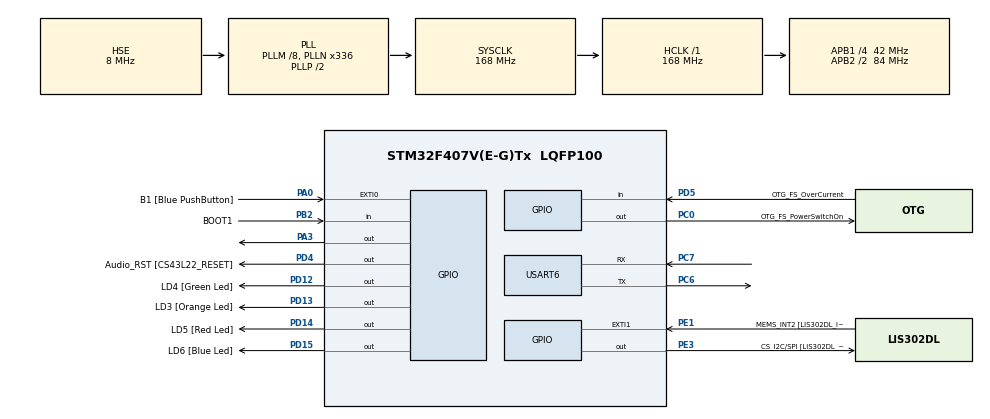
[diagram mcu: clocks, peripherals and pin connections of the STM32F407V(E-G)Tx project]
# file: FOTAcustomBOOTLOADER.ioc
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Dma.Request0=USART6_RX
Dma.Request1=USART6_TX
Dma.USART6_RX.0.Direction=DMA_PERIPH_TO_MEMORY
Dma.USART6_RX.0.FIFOMode=DMA_FIFOMODE_DISABLE
Dma.USART6_RX.0.Instance=DMA2_Stream1
Dma.USART6_RX.0.MemDataAlignment=DMA_MDATAALIGN_BYTE
Dma.USART6_RX.0.MemInc=DMA_MINC_ENABLE
Dma.USART6_RX.0.Mode=DMA_NORMAL
Dma.USART6_RX.0.PeriphDataAlignment=DMA_PDATAALIGN_BYTE
Dma.USART6_RX.0.PeriphInc=DMA_PINC_DISABLE
Dma.USART6_RX.0.Priority=DMA_PRIORITY_LOW
Dma.USART6_TX.1.Direction=DMA_MEMORY_TO_PERIPH
Dma.USART6_TX.1.FIFOMode=DMA_FIFOMODE_DISABLE
Dma.USART6_TX.1.Instance=DMA2_Stream6
Dma.USART6_TX.1.MemDataAlignment=DMA_MDATAALIGN_BYTE
Dma.USART6_TX.1.MemInc=DMA_MINC_ENABLE
Dma.USART6_TX.1.Mode=DMA_NORMAL
Dma.USART6_TX.1.PeriphDataAlignment=DMA_PDATAALIGN_BYTE
Dma.USART6_TX.1.PeriphInc=DMA_PINC_DISABLE
Dma.USART6_TX.1.Priority=DMA_PRIORITY_LOW
Mcu.Family=STM32F4
Mcu.Name=STM32F407V(E-G)Tx
Mcu.Package=LQFP100
NVIC.DMA2_Stream1_IRQn=true\:0\:0\:false\:false\:true\:false\:true\:true
NVIC.DMA2_Stream6_IRQn=true\:0\:0\:false\:false\:true\:false\:true\:true
NVIC.PriorityGroup=NVIC_PRIORITYGROUP_0
PA0-WKUP.GPIO_Label=B1 [Blue PushButton]
PA0-WKUP.GPIO_ModeDefaultEXTI=GPIO_MODE_EVT_RISING
PA0-WKUP.GPIO_PuPd=GPIO_NOPULL
PA0-WKUP.Signal=GPXTI0
PA10.GPIO_Label=OTG_FS_ID
PA10.GPIO_Mode=GPIO_MODE_AF_PP
PA10.GPIO_PuPd=GPIO_NOPULL
PA10.GPIO_Speed=GPIO_SPEED_FREQ_LOW
PA10.Signal=USB_OTG_FS_ID
PA11.GPIO_Label=OTG_FS_DM
PA11.GPIO_Mode=GPIO_MODE_AF_PP
PA11.GPIO_PuPd=GPIO_NOPULL
PA11.GPIO_Speed=GPIO_SPEED_FREQ_LOW
PA11.Signal=USB_OTG_FS_DM
PA12.GPIO_Label=OTG_FS_DP
PA12.GPIO_Mode=GPIO_MODE_AF_PP
PA12.GPIO_PuPd=GPIO_NOPULL
PA12.GPIO_Speed=GPIO_SPEED_FREQ_LOW
PA12.Signal=USB_OTG_FS_DP
PA13.GPIO_Label=SWDIO
PA13.Signal=SYS_JTMS-SWDIO
PA14.GPIO_Label=SWCLK
PA14.Signal=SYS_JTCK-SWCLK
PA3.GPIO_ModeDefaultOutputPP=GPIO_MODE_OUTPUT_OD
PA3.GPIO_PuPd=GPIO_NOPULL
PA3.Signal=GPIO_Output
PA4.GPIO_Label=I2S3_WS [CS43L22_LRCK]
PA4.GPIO_Mode=GPIO_MODE_AF_PP
PA4.GPIO_PuPd=GPIO_NOPULL
PA4.GPIO_Speed=GPIO_SPEED_FREQ_LOW
PA4.Signal=I2S3_WS
PA5.GPIO_Label=SPI1_SCK [LIS302DL_SCL/SPC]
PA5.GPIO_Mode=GPIO_MODE_AF_PP
PA5.GPIO_PuPd=GPIO_NOPULL
PA5.GPIO_Speed=GPIO_SPEED_FREQ_LOW
PA5.Signal=SPI1_SCK
PA6.GPIO_Label=SPI1_MISO [LIS302DL_SDO]
PA6.GPIO_Mode=GPIO_MODE_AF_PP
PA6.GPIO_PuPd=GPIO_NOPULL
PA6.GPIO_Speed=GPIO_SPEED_FREQ_LOW
PA6.Signal=SPI1_MISO
PA7.GPIO_Label=SPI1_MOSI [LIS302DL_SDA/SDI/SDO]
PA7.GPIO_Mode=GPIO_MODE_AF_PP
PA7.GPIO_PuPd=GPIO_NOPULL
PA7.GPIO_Speed=GPIO_SPEED_FREQ_LOW
PA7.Signal=SPI1_MOSI
PA9.GPIO_Label=VBUS_FS
PA9.GPIO_Mode=GPIO_MODE_INPUT
PA9.GPIO_PuPd=GPIO_NOPULL
PA9.Signal=USB_OTG_FS_VBUS
PB10.GPIO_Label=CLK_IN [MP45DT02_CLK]
PB10.GPIO_Mode=GPIO_MODE_AF_PP
PB10.GPIO_PuPd=GPIO_NOPULL
PB10.GPIO_Speed=GPIO_SPEED_FREQ_LOW
PB10.Signal=I2S2_CK
PB2.GPIO_Label=BOOT1
PB2.GPIO_Mode=GPIO_MODE_INPUT
PB2.GPIO_PuPd=GPIO_NOPULL
PB2.Signal=GPIO_Input
PB3.GPIO_Label=SWO
PB3.Signal=SYS_JTDO-SWO
PB6.GPIO_Label=Audio_SCL [CS43L22_SCL]
PB6.GPIO_Mode=GPIO_MODE_AF_OD
PB6.GPIO_Pu=GPIO_PULLUP
PB6.GPIO_PuPd=GPIO_NOPULL
PB6.GPIO_Speed=GPIO_SPEED_FREQ_LOW
PB6.Signal=I2C1_SCL
PB9.GPIO_Label=Audio_SDA [CS43L22_SDA]
PB9.GPIO_Mode=GPIO_MODE_AF_OD
PB9.GPIO_Pu=GPIO_PULLUP
PB9.GPIO_PuPd=GPIO_NOPULL
PB9.GPIO_Speed=GPIO_SPEED_FREQ_LOW
PB9.Signal=I2C1_SDA
PC0.GPIO_Label=OTG_FS_PowerSwitchOn
PC0.GPIO_PuPd=GPIO_NOPULL
PC0.GPIO_Speed=GPIO_SPEED_FREQ_LOW
PC0.PinState=GPIO_PIN_SET
PC0.Signal=GPIO_Output
PC10.GPIO_Label=I2S3_SCK [CS43L22_SCLK]
PC10.GPIO_Mode=GPIO_MODE_AF_PP
PC10.GPIO_PuPd=GPIO_NOPULL
PC10.GPIO_Speed=GPIO_SPEED_FREQ_LOW
PC10.Signal=I2S3_CK
PC12.GPIO_Label=I2S3_SD [CS43L22_SDIN]
PC12.GPIO_Mode=GPIO_MODE_AF_PP
PC12.GPIO_PuPd=GPIO_NOPULL
PC12.GPIO_Speed=GPIO_SPEED_FREQ_LOW
PC12.Signal=I2S3_SD
PC14-OSC32_IN.GPIO_Label=PC14-OSC32_IN
PC14-OSC32_IN.Mode=LSE-External-Oscillator
PC14-OSC32_IN.Signal=RCC_OSC32_IN
PC15-OSC32_OUT.GPIO_Label=PC15-OSC32_OUT
PC15-OSC32_OUT.Mode=LSE-External-Oscillator
PC15-OSC32_OUT.Signal=RCC_OSC32_OUT
PC3.GPIO_Label=PDM_OUT [MP45DT02_DOUT]
PC3.GPIO_Mode=GPIO_MODE_AF_PP
PC3.GPIO_PuPd=GPIO_NOPULL
PC3.GPIO_Speed=GPIO_SPEED_FREQ_LOW
PC3.Signal=I2S2_SD
PC6.Mode=Asynchronous
PC6.Signal=USART6_TX
PC7.Mode=Asynchronous
PC7.Signal=USART6_RX
PD12.GPIO_Label=LD4 [Green Led]
PD12.GPIO_PuPd=GPIO_NOPULL
PD12.GPIO_Speed=GPIO_SPEED_FREQ_LOW
PD12.Signal=GPIO_Output
PD13.GPIO_Label=LD3 [Orange Led]
PD13.GPIO_PuPd=GPIO_NOPULL
PD13.GPIO_Speed=GPIO_SPEED_FREQ_LOW
PD13.Signal=GPIO_Output
PD14.GPIO_Label=LD5 [Red Led]
PD14.GPIO_PuPd=GPIO_NOPULL
PD14.GPIO_Speed=GPIO_SPEED_FREQ_LOW
PD14.Signal=GPIO_Output
PD15.GPIO_Label=LD6 [Blue Led]
PD15.GPIO_PuPd=GPIO_NOPULL
PD15.GPIO_Speed=GPIO_SPEED_FREQ_LOW
PD15.Signal=GPIO_Output
PD4.GPIO_Label=Audio_RST [CS43L22_RESET]
PD4.GPIO_PuPd=GPIO_NOPULL
PD4.GPIO_Speed=GPIO_SPEED_FREQ_LOW
PD4.Signal=GPIO_Output
PD5.GPIO_Label=OTG_FS_OverCurrent
PD5.GPIO_Mode=GPIO_MODE_INPUT
PD5.GPIO_PuPd=GPIO_NOPULL
PD5.Signal=GPIO_Input
PE1.GPIO_Label=MEMS_INT2 [LIS302DL_INT2]
PE1.GPIO_ModeDefaultEXTI=GPIO_MODE_EVT_RISING
PE1.GPIO_PuPd=GPIO_NOPULL
PE1.Signal=GPXTI1
PE3.GPIO_Label=CS_I2C/SPI [LIS302DL_CS_I2C/SPI]
PE3.GPIO_PuPd=GPIO_NOPULL
PE3.GPIO_Speed=GPIO_SPEED_FREQ_LOW
PE3.Signal=GPIO_Output
PH0-OSC_IN.GPIO_Label=PH0-OSC_IN
PH0-OSC_IN.Mode=HSE-External-Oscillator
PH0-OSC_IN.Signal=RCC_OSC_IN
PH1-OSC_OUT.GPIO_Label=PH1-OSC_OUT
PH1-OSC_OUT.Mode=HSE-External-Oscillator
PH1-OSC_OUT.Signal=RCC_OSC_OUT
ProjectManager.HeapSize=0x200
ProjectManager.StackSize=0x400
ProjectManager.TargetToolchain=Makefile
RCC.48MHZClocksFreq_Value=48000000
RCC.AHBFreq_Value=168000000
RCC.APB1CLKDivider=RCC_HCLK_DIV4
RCC.APB1Freq_Value=42000000
RCC.APB1TimFreq_Value=84000000
RCC.APB2CLKDivider=RCC_HCLK_DIV2
RCC.APB2Freq_Value=84000000
RCC.APB2TimFreq_Value=168000000
RCC.CortexFreq_Value=168000000
RCC.HCLKFreq_Value=168000000
RCC.HSE_VALUE=8000000
RCC.HSI_VALUE=16000000
RCC.PLLM=8
RCC.PLLN=336
RCC.PLLQ=7
RCC.PLLSourceVirtual=RCC_PLLSOURCE_HSE
RCC.SYSCLKFreq_VALUE=168000000
RCC.SYSCLKSource=RCC_SYSCLKSOURCE_PLLCLK
RCC.VCOOutputFreq_Value=336000000
USART6.VirtualMode=VM_ASYNC
USART6.WordLength=WORDLENGTH_9B
board=STM32F407G-DISC1

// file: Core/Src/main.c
/* USER CODE BEGIN Header */
/**
  ******************************************************************************
  * @file           : main.c
  * @brief          : Main program body
  ******************************************************************************
  * @attention
  *
  * Copyright (c) 2026 STMicroelectronics.
  * All rights reserved.
  *
  * This software is licensed under terms that can be found in the LICENSE file
  * in the root directory of this software component.
  * If no LICENSE file comes with this software, it is provided AS-IS.
  *
  ******************************************************************************
  */

/* USER CODE END Header */
#include "main.h"
#include "dma.h"
#include "usart.h"
#include "gpio.h"

/* USER CODE BEGIN Includes */
#include <string.h>
/* USER CODE END Includes */

/* USER CODE BEGIN PM */
#define APP_ADDRESS 0x08010000
/* USER CODE END PM */

void SystemClock_Config(void);
/* USER CODE BEGIN PFP */

typedef void (*pFunction)(void);
void JumpToApplication(void);
void SendACK(void);
void Flash_Erase_App_Sectors(void);
void Flash_Write_Data(uint32_t address , uint8_t* data , uint16_t length);
void CustomFotaLoop(void);

/* USER CODE END PFP */

int main(void)
{

  /* MCU Configuration--------------------------------------------------------*/

  /* Reset of all peripherals, Initializes the Flash interface and the Systick. */
  HAL_Init();

  /* Configure the system clock */
  SystemClock_Config();

  /* Initialize all configured peripherals */
  MX_GPIO_Init();
  MX_DMA_Init();
  MX_USART6_UART_Init();
  /* USER CODE BEGIN 2 */
  HAL_GPIO_WritePin(GPIOD, GPIO_PIN_12, GPIO_PIN_SET);
  uint8_t syncByte = 0;
  HAL_StatusTypeDef res = HAL_UART_Receive(&huart6, &syncByte, 1, 2000);
  if(res == HAL_OK &&  syncByte == 0x7F)
  {
	  SendACK();
	  CustomFotaLoop();
  }
  else
  {
	  JumpToApplication();
	  HAL_GPIO_WritePin(GPIOD, GPIO_PIN_12, GPIO_PIN_RESET);
  }
  /* USER CODE END 2 */

  /* Infinite loop */
  while (1)
  {

  }
}

void SystemClock_Config(void)
{
  RCC_OscInitTypeDef RCC_OscInitStruct = {0};
  RCC_ClkInitTypeDef RCC_ClkInitStruct = {0};

  /** Configure the main internal regulator output voltage
  */
  __HAL_RCC_PWR_CLK_ENABLE();
  __HAL_PWR_VOLTAGESCALING_CONFIG(PWR_REGULATOR_VOLTAGE_SCALE1);

  /** Initializes the RCC Oscillators according to the specified parameters
  * in the RCC_OscInitTypeDef structure.
  */
  RCC_OscInitStruct.OscillatorType = RCC_OSCILLATORTYPE_HSE;
  RCC_OscInitStruct.HSEState = RCC_HSE_ON;
  RCC_OscInitStruct.PLL.PLLState = RCC_PLL_ON;
  RCC_OscInitStruct.PLL.PLLSource = RCC_PLLSOURCE_HSE;
  RCC_OscInitStruct.PLL.PLLM = 8;
  RCC_OscInitStruct.PLL.PLLN = 336;
  RCC_OscInitStruct.PLL.PLLP = RCC_PLLP_DIV2;
  RCC_OscInitStruct.PLL.PLLQ = 7;
  if (HAL_RCC_OscConfig(&RCC_OscInitStruct) != HAL_OK)
  {
    Error_Handler();
  }

  /** Initializes the CPU, AHB and APB buses clocks
  */
  RCC_ClkInitStruct.ClockType = RCC_CLOCKTYPE_HCLK|RCC_CLOCKTYPE_SYSCLK
                              |RCC_CLOCKTYPE_PCLK1|RCC_CLOCKTYPE_PCLK2;
  RCC_ClkInitStruct.SYSCLKSource = RCC_SYSCLKSOURCE_PLLCLK;
  RCC_ClkInitStruct.AHBCLKDivider = RCC_SYSCLK_DIV1;
  RCC_ClkInitStruct.APB1CLKDivider = RCC_HCLK_DIV4;
  RCC_ClkInitStruct.APB2CLKDivider = RCC_HCLK_DIV2;

  if (HAL_RCC_ClockConfig(&RCC_ClkInitStruct, FLASH_LATENCY_5) != HAL_OK)
  {
    Error_Handler();
  }
}

/* USER CODE BEGIN 4 */

void SendACK(void)
{
	uint8_t ack = 0x79;
	HAL_UART_Transmit(&huart6 , &ack , 1 , 100);
}

void JumpToApplication(void)
{
	uint32_t mspAddress = *(__IO uint32_t*)APP_ADDRESS;
	uint32_t jumpAddress = *(__IO uint32_t*) (APP_ADDRESS + 4);
	pFunction JumpToApp  = (pFunction) jumpAddress;

		HAL_GPIO_WritePin(GPIOD, GPIO_PIN_13, GPIO_PIN_RESET);
		HAL_Delay(100);
		HAL_RCC_DeInit();
		HAL_DeInit();
		SysTick->CTRL = 0;
		SysTick->LOAD = 0;
		SysTick->VAL = 0;

		for (int i = 0; i < 8; i++) {
		        NVIC->ICER[i] = 0xFFFFFFFF;
		        NVIC->ICPR[i] = 0xFFFFFFFF;
		}

		SCB->VTOR = APP_ADDRESS;
		__set_MSP(*(__IO uint32_t*) APP_ADDRESS);
		JumpToApp();

}

void Flash_Erase_App_Sectors(void)
{
	HAL_FLASH_Unlock();

	FLASH_EraseInitTypeDef EraseInitStruct;
	uint32_t SectorError = 0;

	EraseInitStruct.TypeErase 		= FLASH_TYPEERASE_SECTORS;
	EraseInitStruct.VoltageRange	= FLASH_VOLTAGE_RANGE_3;
	EraseInitStruct.Sector			= FLASH_SECTOR_4;
	EraseInitStruct.NbSectors		= 8;

	HAL_FLASHEx_Erase(&EraseInitStruct, &SectorError);

	HAL_FLASH_Lock();
}

void Flash_Write_Data(uint32_t address , uint8_t* data , uint16_t length)
{
	HAL_FLASH_Unlock();

	for(uint16_t i = 0 ; i < length ; i++)
	{
		HAL_FLASH_Program(FLASH_TYPEPROGRAM_BYTE, address + i , data[i]);

	}

	HAL_FLASH_Lock();
}

static uint8_t dataBuf[256];

void CustomFotaLoop(void)
{
	uint8_t cmd;
	uint32_t currentWriteAdress = APP_ADDRESS;

	while(1)
	{
		if(HAL_UART_Receive(&huart6, &cmd , 1 , HAL_MAX_DELAY) == HAL_OK)
		{
			if(cmd == 0xA1) //Delete
			{
				SendACK();
				Flash_Erase_App_Sectors();
				currentWriteAdress = APP_ADDRESS;
				SendACK();
			}

			else if (cmd == 0xA2)
			{
			    HAL_GPIO_WritePin(GPIOD, GPIO_PIN_13, GPIO_PIN_SET);
			    SendACK();

			    uint8_t lenMinusOne;
			    if (HAL_UART_Receive(&huart6, &lenMinusOne, 1, 1000) == HAL_OK)
			    {
			        uint16_t length = (uint16_t)lenMinusOne + 1;

			        __HAL_UART_CLEAR_OREFLAG(&huart6);
			        huart6.ErrorCode = HAL_UART_ERROR_NONE;

			        SendACK();

			        HAL_GPIO_WritePin(GPIOD, GPIO_PIN_15, GPIO_PIN_SET);

			        if (HAL_UART_Receive_DMA(&huart6, dataBuf, length) == HAL_OK)
			        {
			            uint32_t startTime = HAL_GetTick();
			            while (huart6.RxState != HAL_UART_STATE_READY)
			            {
			                if (HAL_GetTick() - startTime > 2000) break;
			            }

			            if (huart6.RxState == HAL_UART_STATE_READY)
			            {
			                HAL_GPIO_WritePin(GPIOD, GPIO_PIN_15, GPIO_PIN_RESET);

			                Flash_Write_Data(currentWriteAdress, dataBuf, length);
			                currentWriteAdress += length;

			                HAL_Delay(10);
			                SendACK();
			                HAL_GPIO_WritePin(GPIOD, GPIO_PIN_13, GPIO_PIN_RESET);
			            }
			            else
			            {
			                HAL_UART_DMAStop(&huart6);
			                HAL_GPIO_WritePin(GPIOD, GPIO_PIN_14, GPIO_PIN_SET);
			                HAL_GPIO_WritePin(GPIOD, GPIO_PIN_13 | GPIO_PIN_15, GPIO_PIN_RESET);
			            }
			        }
			        else
			        {
			            huart6.RxState = HAL_UART_STATE_READY;
			        }
			    }
			}

			else if (cmd == 0xA3)
			{
				SendACK(); //Exit
				JumpToApplication();
			}

		}
	}
}

/* USER CODE END 4 */

void Error_Handler(void)
{
  __disable_irq();
  while (1)
  {
  }
}
